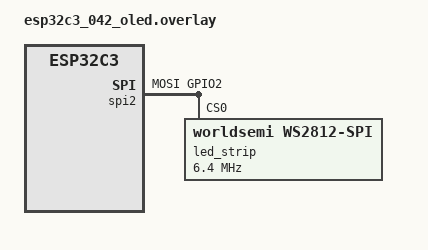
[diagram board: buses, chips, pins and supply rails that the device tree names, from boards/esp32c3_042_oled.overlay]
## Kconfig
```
mainmenu "WS2812 demo application"

config LED_POWER
    bool "Uses a pin to supply power to the WS2812 LED."
    default n

source "Kconfig.zephyr"
```

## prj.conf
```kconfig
CONFIG_GPIO=y
CONFIG_LOG=y
CONFIG_PRINTK=y
CONFIG_EVENTS=y

CONFIG_HEAP_MEM_POOL_SIZE=32768

# Standard thread options
CONFIG_DYNAMIC_THREAD=y
CONFIG_DYNAMIC_THREAD_ALLOC=y
CONFIG_THREAD_STACK_INFO=y
CONFIG_THREAD_NAME=y
CONFIG_THREAD_MONITOR=y
CONFIG_THREAD_RUNTIME_STATS=y
CONFIG_THREAD_RUNTIME_STATS_USE_TIMING_FUNCTIONS=y

CONFIG_SHELL=y

# Random Number generation
CONFIG_ENTROPY_GENERATOR=y

CONFIG_LED_STRIP=y
CONFIG_LED_STRIP_LOG_LEVEL_DBG=y

CONFIG_WS2812LED=y
CONFIG_WS2812LED_LOG_LEVEL_INF=y
```

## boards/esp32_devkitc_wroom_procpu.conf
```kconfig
CONFIG_NETWORKING=y
CONFIG_NET_CONFIG_SETTINGS=y

# For wifi
CONFIG_WIFI=y
CONFIG_WIFI_ESP32=y
CONFIG_INIT_STACKS=y
CONFIG_NET_L2_WIFI_MGMT=y
CONFIG_NET_L2_ETHERNET=y

CONFIG_NETWORKING=y
CONFIG_NET_IPV4=y
CONFIG_NET_UDP=y
CONFIG_NET_TCP=y
CONFIG_DNS_RESOLVER=y
CONFIG_DNS_RESOLVER_AI_MAX_ENTRIES=10
CONFIG_ESP32_WIFI_STA_AUTO_DHCPV4=y
CONFIG_ESP32_WIFI_STA_RECONNECT=y

# Use DHCP for IPv4
CONFIG_NET_DHCPV4=y

# Debugging
CONFIG_NET_LOG=y
CONFIG_WIFI_LOG_LEVEL_ERR=y
```

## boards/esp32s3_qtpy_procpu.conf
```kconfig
CONFIG_LED_POWER=y
```

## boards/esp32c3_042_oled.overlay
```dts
#include <zephyr/dt-bindings/led/led.h>

/ {
	aliases {
		led-strip = &led_strip;
	};
};

&pinctrl {
	spim2_default: spim2_default {
		group3 {
			pinmux = <SPIM2_MOSI_GPIO2>;
		};
	};
};

&spi2 {
	status = "okay";
	#address-cells = <1>;
	#size-cells = <0>;
	pinctrl-0 = <&spim2_default>;
	pinctrl-names = "default";

	/* Workaround to support WS2812 driver */
	line-idle-low;

	led_strip: ws2812@0 {
		compatible = "worldsemi,ws2812-spi";

		/* SPI */
		reg = <0>; /* ignored, but necessary for SPI bindings */
		spi-max-frequency = <6400000>;

		/* WS2812 */
		chain-length = <1>; /* a single led */
		spi-cpha;
		spi-one-frame = <0xf0>; /* 11110000: 625 ns high and 625 ns low */
		spi-zero-frame = <0xc0>; /* 11000000: 312.5 ns high and 937.5 ns low */
		color-mapping = <LED_COLOR_ID_GREEN
				 LED_COLOR_ID_RED
				 LED_COLOR_ID_BLUE>;
	};
};
```

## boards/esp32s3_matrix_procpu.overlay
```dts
#include <zephyr/dt-bindings/led/led.h>

/ {
	aliases {
		led-strip = &led_strip;
	};
};

&spi3 {
	status = "okay";
	#address-cells = <1>;
	#size-cells = <0>;
	pinctrl-0 = <&spim3_default>;
	pinctrl-names = "default";

	/* Workaround to support WS2812 driver */
	line-idle-low;

	led_strip: ws2812@0 {
		compatible = "worldsemi,ws2812-spi";

		/* SPI */
		reg = <0>; /* ignored, but necessary for SPI bindings */
		spi-max-frequency = <6400000>;

		/* WS2812 */
		chain-length = <64>; /* arbitrary; change at will */
		spi-cpha;
		spi-one-frame = <0xf0>; /* 11110000: 625 ns high and 625 ns low */
		spi-zero-frame = <0xc0>; /* 11000000: 312.5 ns high and 937.5 ns low */
		color-mapping = <LED_COLOR_ID_GREEN
				 LED_COLOR_ID_RED
				 LED_COLOR_ID_BLUE>;
	};
};

&pinctrl {
	spim3_default: spim3_default {
		group2 {
			pinmux = <SPIM3_MOSI_GPIO14>;
		};
	};
};
```

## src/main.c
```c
#include <zephyr/kernel.h>
#include <zephyr/device.h>
#include <zephyr/devicetree.h>
#include <zephyr/logging/log.h>
#include <zephyr/drivers/gpio.h>
#include <zephyr/drivers/led_strip.h>

#include "WS2812Led.h"

/** @brief Initialize the logging module. */
LOG_MODULE_REGISTER(app, LOG_LEVEL_DBG);

#define STRIP_NODE              DT_ALIAS(led_strip)

#ifdef CONFIG_LED_POWER
static const struct gpio_dt_spec ledpwr = GPIO_DT_SPEC_GET(DT_ALIAS(led0), gpios);
#endif

#if DT_NODE_HAS_PROP(DT_ALIAS(led_strip), chain_length)
#define STRIP_NUM_PIXELS        DT_PROP(DT_ALIAS(led_strip), chain_length)
#else
#error Unable to determine length of LED strip
#endif

#define NUM_PIXELS  DT_PROP(STRIP_NODE, chain_length)
static const struct device *const dev = DEVICE_DT_GET(STRIP_NODE);

WS2812Led_Strip led_strip = {
    .numPixels = NUM_PIXELS,
    .loopDelay_ms = 10,
    .taskStackSize = 4*1024,
    .taskName = "Led0",
    .taskPrio = 15
};

WS2812Led_Segment segment0 = {
    .startIdx = 0,
    .endIdx = NUM_PIXELS-1,
    .taskName = "seg0",
    .taskStackSize = 2*1024,
    .taskPrio = 10,
    .loopDelay_ms = 10
};

int main(void)
{
    int ret;

    LOG_INF("Starting ws2812 demo app.");

#ifdef CONFIG_LED_POWER
    LOG_INF("Applying Led power GPIO.");
    /* Provide power to RGB led. */
    if (!gpio_is_ready_dt(&ledpwr))
    {
        LOG_ERR("GPIO device is not ready.");        
    }
    /* Enable RGB LED */
    gpio_pin_configure_dt(&ledpwr, GPIO_OUTPUT_ACTIVE);
#endif

    /* Use core 1 to mitigate preemption from wifi task. */
    ret = WS2812Led_init(dev, &led_strip, 1);

    WS2812Led_addSegment(&led_strip, &segment0);

    segment0.off(&segment0);
    WS2812Led_show(&led_strip);

    while (1)
    {
        int i, j;
        CHSV start, end, color;

#if 0
        LOG_INF("Fire");
        segment0.fire(&segment0, true, 120, 100, 10);
        RTOS_TASK_SLEEP_s(20);
#endif

#if 1
        LOG_INF("Dissolve");
        color = WS2812LED_COLOR(HUE_AQUA, 255, 140);
        segment0.dissolve(&segment0, true, &color, 80, 20, 50);
        RTOS_TASK_SLEEP_s(20);
#endif

#if 0
        LOG_INF("Meteor");
        color = WS2812LED_COLOR(HUE_BLUE, 255, 240);
        segment0.meteor(&segment0, true, &color, 1, 80, true, 20);
        RTOS_TASK_SLEEP_s(20);
#endif

#if 1
        LOG_INF("Sparkle");
        color = WS2812LED_COLOR(HUE_BLUE, 255, 140);
        segment0.sparkle(&segment0, true, &color, 1, 10);
        RTOS_TASK_SLEEP_s(10);
#endif

#if 0
        LOG_INF("Twinkle");
        segment0.twinkle(&segment0, true, 50, 10);
        RTOS_TASK_SLEEP_s(10);
#endif

#if 1
        LOG_INF("Fill random");
        for (i = 0; i < 100; i++)
        {
            segment0.fill_random(&segment0, 255, 50);
            RTOS_TASK_SLEEP_ms(100);
        }
#endif

#if 1
        LOG_INF("Fill rainbow");
        for (i = 0; i < 1000; i++)
        {
            segment0.fill_rainbow(&segment0, i, 255, 70);
            RTOS_TASK_SLEEP_ms(10);
        }
#endif

#if 0
        LOG_INF("Fill solid");
        for (j = 0; j < 255; j+=10)
        {
            for (i = 0; i < 200; i++)
            {
                uint8_t v;
                if (i < 100)
                {
                    v = i;
                }
                else
                {
                    v = 200 - i;
                }

                start = (CHSV){ .h = j, .s = 255, .v = v };
                segment0.fill_solid(&segment0, &start);
                RTOS_TASK_SLEEP_ms(10);
            }
        }

#endif

#if 1
        LOG_INF("Blend");
        start = (CHSV){ .h = HUE_BLUE, .s = 255, .v = 80 };
        end = (CHSV){ .h = HUE_BLUE-1, .s = 255, .v = 80 };
        segment0.blend(&segment0,
                       true,
                       &start,
                       &end,
                       GRAD_LONGEST,
                       800,
                       20);

        RTOS_TASK_SLEEP_s(15);
#endif
    }

}
```
